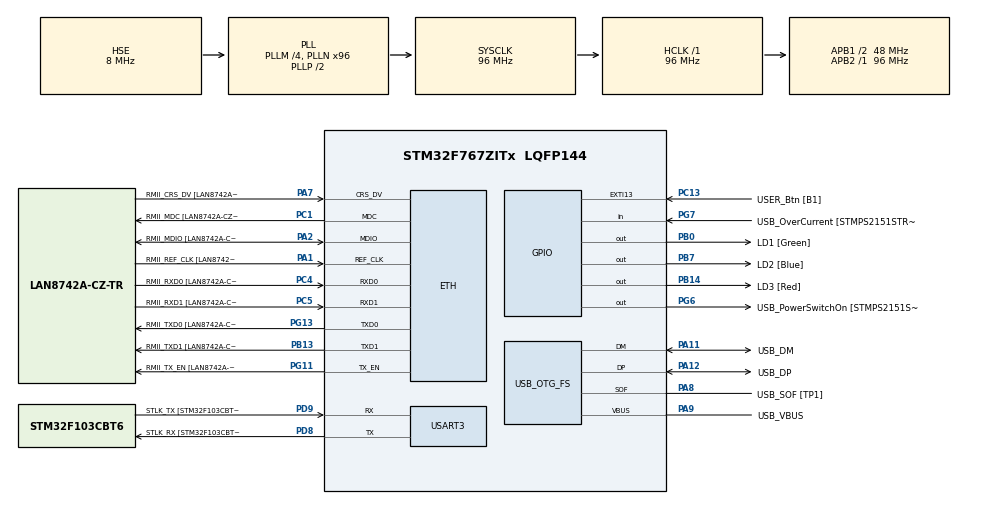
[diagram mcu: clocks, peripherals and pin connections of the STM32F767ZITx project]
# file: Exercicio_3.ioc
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ETH.MediaInterface=HAL_ETH_RMII_MODE
ETH.PHY_Name=LAN8742A_PHY_ADDRESS
ETH.PHY_Value=0
ETH.PhyAddress=0
FREERTOS.CountingSemaphores01=Sem01,2,Dynamic,NULL,0
FREERTOS.Mutexes01=Mutex01,Dynamic,NULL,Available
FREERTOS.Tasks01=Task01,24,128,Task_01,Default,NULL,Dynamic,NULL,NULL;Task02,24,128,Task_02,Default,NULL,Dynamic,NULL,NULL;Task03,24,128,Task_03,Default,NULL,Dynamic,NULL,NULL
Mcu.Family=STM32F7
Mcu.Name=STM32F767ZITx
Mcu.Package=LQFP144
NVIC.PriorityGroup=NVIC_PRIORITYGROUP_4
NVIC.TIM1_UP_TIM10_IRQn=true\:15\:0\:false\:false\:true\:false\:false\:true\:true
NVIC.TimeBase=TIM1_UP_TIM10_IRQn
NVIC.TimeBaseIP=TIM1
PA1.GPIO_Label=RMII_REF_CLK [LAN8742A-CZ-TR_REFCLK0]
PA1.Mode=RMII
PA1.Signal=ETH_REF_CLK
PA10.GPIO_Label=USB_ID
PA10.Signal=USB_OTG_FS_ID
PA11.GPIO_Label=USB_DM
PA11.Mode=Device_Only
PA11.Signal=USB_OTG_FS_DM
PA12.GPIO_Label=USB_DP
PA12.Mode=Device_Only
PA12.Signal=USB_OTG_FS_DP
PA13.GPIO_Label=TMS
PA13.Mode=Serial_Wire
PA13.Signal=SYS_JTMS-SWDIO
PA14.GPIO_Label=TCK
PA14.Mode=Serial_Wire
PA14.Signal=SYS_JTCK-SWCLK
PA2.GPIO_Label=RMII_MDIO [LAN8742A-CZ-TR_MDIO]
PA2.Mode=RMII
PA2.Signal=ETH_MDIO
PA7.GPIO_Label=RMII_CRS_DV [LAN8742A-CZ-TR_CRS_DV]
PA7.Mode=RMII
PA7.Signal=ETH_CRS_DV
PA8.GPIO_Label=USB_SOF [TP1]
PA8.Mode=Activate_SOF_FS
PA8.Signal=USB_OTG_FS_SOF
PA9.GPIO_Label=USB_VBUS
PA9.Mode=Activate_VBUS
PA9.Signal=USB_OTG_FS_VBUS
PB0.GPIO_Label=LD1 [Green]
PB0.Signal=GPIO_Output
PB13.GPIO_Label=RMII_TXD1 [LAN8742A-CZ-TR_TXD1]
PB13.Mode=RMII
PB13.Signal=ETH_TXD1
PB14.GPIO_Label=LD3 [Red]
PB14.Signal=GPIO_Output
PB3.GPIO_Label=SWO
PB3.Signal=SYS_JTDO-SWO
PB7.GPIO_Label=LD2 [Blue]
PB7.Signal=GPIO_Output
PC1.GPIO_Label=RMII_MDC [LAN8742A-CZ-TR_MDC]
PC1.Mode=RMII
PC1.Signal=ETH_MDC
PC13.GPIO_Label=USER_Btn [B1]
PC13.Signal=GPXTI13
PC14/OSC32_IN.Mode=LSE-External-Oscillator
PC14/OSC32_IN.Signal=RCC_OSC32_IN
PC15/OSC32_OUT.Mode=LSE-External-Oscillator
PC15/OSC32_OUT.Signal=RCC_OSC32_OUT
PC4.GPIO_Label=RMII_RXD0 [LAN8742A-CZ-TR_RXD0]
PC4.Mode=RMII
PC4.Signal=ETH_RXD0
PC5.GPIO_Label=RMII_RXD1 [LAN8742A-CZ-TR_RXD1]
PC5.Mode=RMII
PC5.Signal=ETH_RXD1
PD8.GPIO_Label=STLK_RX [STM32F103CBT6_PA3]
PD8.Mode=Asynchronous
PD8.Signal=USART3_TX
PD9.GPIO_Label=STLK_TX [STM32F103CBT6_PA2]
PD9.Mode=Asynchronous
PD9.Signal=USART3_RX
PG11.GPIO_Label=RMII_TX_EN [LAN8742A-CZ-TR_TXEN]
PG11.Mode=RMII
PG11.Signal=ETH_TX_EN
PG13.GPIO_Label=RMII_TXD0 [LAN8742A-CZ-TR_TXD0]
PG13.Mode=RMII
PG13.Signal=ETH_TXD0
PG6.GPIO_Label=USB_PowerSwitchOn [STMPS2151STR_EN]
PG6.Signal=GPIO_Output
PG7.GPIO_Label=USB_OverCurrent [STMPS2151STR_FAULT]
PG7.Signal=GPIO_Input
PH0/OSC_IN.GPIO_Label=MCO [STM32F103CBT6_PA8]
PH0/OSC_IN.Mode=HSE-External-Clock-Source
PH0/OSC_IN.Signal=RCC_OSC_IN
PH1/OSC_OUT.Mode=HSE-External-Clock-Source
PH1/OSC_OUT.Signal=RCC_OSC_OUT
ProjectManager.HeapSize=0x200
ProjectManager.StackSize=0x400
ProjectManager.TargetToolchain=STM32CubeIDE
RCC.48MHZClocksFreq_Value=24000000
RCC.AHBFreq_Value=96000000
RCC.APB1CLKDivider=RCC_HCLK_DIV2
RCC.APB1Freq_Value=48000000
RCC.APB1TimFreq_Value=96000000
RCC.APB2Freq_Value=96000000
RCC.APB2TimFreq_Value=96000000
RCC.CortexFreq_Value=96000000
RCC.HCLKFreq_Value=96000000
RCC.HSE_VALUE=8000000
RCC.HSI_VALUE=16000000
RCC.PLLM=4
RCC.PLLMUL=RCC_PLL_MUL9
RCC.PLLN=96
RCC.PLLQ=4
RCC.PRESCALERUSB=RCC_USBCLKSOURCE_PLL_DIV1_5
RCC.SYSCLKFreq_VALUE=96000000
RCC.SYSCLKSource=RCC_SYSCLKSOURCE_PLLCLK
RCC.SYSCLKSourceVirtual=RCC_SYSCLKSOURCE_PLLCLK
RCC.USBFreq_Value=48000000
RCC.VCOOutputFreq_Value=192000000
USART3.VirtualMode-Asynchronous=VM_ASYNC
USB_OTG_FS.VirtualMode=Device_Only
VP_FREERTOS_VS_CMSIS_V2.Mode=CMSIS_V2
VP_SYS_VS_tim1.Mode=TIM1
board=NUCLEO-F767ZI

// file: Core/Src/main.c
/* USER CODE BEGIN Header */
/**
  ******************************************************************************
  * @file           : main.c
  * @brief          : Main program body
  ******************************************************************************
  * @attention
  *
  * Copyright (c) 2025 STMicroelectronics.
  * All rights reserved.
  *
  * This software is licensed under terms that can be found in the LICENSE file
  * in the root directory of this software component.
  * If no LICENSE file comes with this software, it is provided AS-IS.
  *
  ******************************************************************************
  */
/* USER CODE END Header */
#include "main.h"
#include "string.h"
#include "cmsis_os.h"

#if defined ( __ICCARM__ ) /*!< IAR Compiler */
#pragma location=0x2007c000
ETH_DMADescTypeDef  DMARxDscrTab[ETH_RX_DESC_CNT]; /* Ethernet Rx DMA Descriptors */
#pragma location=0x2007c0a0
ETH_DMADescTypeDef  DMATxDscrTab[ETH_TX_DESC_CNT]; /* Ethernet Tx DMA Descriptors */

#elif defined ( __CC_ARM )  /* MDK ARM Compiler */

__attribute__((at(0x2007c000))) ETH_DMADescTypeDef  DMARxDscrTab[ETH_RX_DESC_CNT]; /* Ethernet Rx DMA Descriptors */
__attribute__((at(0x2007c0a0))) ETH_DMADescTypeDef  DMATxDscrTab[ETH_TX_DESC_CNT]; /* Ethernet Tx DMA Descriptors */

#elif defined ( __GNUC__ ) /* GNU Compiler */

ETH_DMADescTypeDef DMARxDscrTab[ETH_RX_DESC_CNT] __attribute__((section(".RxDecripSection"))); /* Ethernet Rx DMA Descriptors */
ETH_DMADescTypeDef DMATxDscrTab[ETH_TX_DESC_CNT] __attribute__((section(".TxDecripSection")));   /* Ethernet Tx DMA Descriptors */
#endif

ETH_TxPacketConfig TxConfig;

ETH_HandleTypeDef heth;

UART_HandleTypeDef huart3;

PCD_HandleTypeDef hpcd_USB_OTG_FS;

/* Definitions for Task01 */
osThreadId_t Task01Handle;
const osThreadAttr_t Task01_attributes = {
  .name = "Task01",
  .stack_size = 128 * 4,
  .priority = (osPriority_t) osPriorityNormal,
};
/* Definitions for Task02 */
osThreadId_t Task02Handle;
const osThreadAttr_t Task02_attributes = {
  .name = "Task02",
  .stack_size = 128 * 4,
  .priority = (osPriority_t) osPriorityNormal,
};
/* Definitions for Task03 */
osThreadId_t Task03Handle;
const osThreadAttr_t Task03_attributes = {
  .name = "Task03",
  .stack_size = 128 * 4,
  .priority = (osPriority_t) osPriorityNormal,
};
/* Definitions for Mutex01 */
osMutexId_t Mutex01Handle;
const osMutexAttr_t Mutex01_attributes = {
  .name = "Mutex01"
};
/* Definitions for Sem01 */
osSemaphoreId_t Sem01Handle;
const osSemaphoreAttr_t Sem01_attributes = {
  .name = "Sem01"
};

void SystemClock_Config(void);
static void MX_GPIO_Init(void);
static void MX_ETH_Init(void);
static void MX_USART3_UART_Init(void);
static void MX_USB_OTG_FS_PCD_Init(void);
void Task_01(void *argument);
void Task_02(void *argument);
void Task_03(void *argument);

int main(void)
{

  /* MCU Configuration--------------------------------------------------------*/

  /* Reset of all peripherals, Initializes the Flash interface and the Systick. */
  HAL_Init();

  /* Configure the system clock */
  SystemClock_Config();

  /* Initialize all configured peripherals */
  MX_GPIO_Init();
  MX_ETH_Init();
  MX_USART3_UART_Init();
  MX_USB_OTG_FS_PCD_Init();

  /* Init scheduler */
  osKernelInitialize();
  /* Create the mutex(es) */
  /* creation of Mutex01 */
  Mutex01Handle = osMutexNew(&Mutex01_attributes);

  /* Create the semaphores(s) */
  /* creation of Sem01 */
  Sem01Handle = osSemaphoreNew(2, 0, &Sem01_attributes);

  /* Create the thread(s) */
  /* creation of Task01 */
  Task01Handle = osThreadNew(Task_01, NULL, &Task01_attributes);

  /* creation of Task02 */
  Task02Handle = osThreadNew(Task_02, NULL, &Task02_attributes);

  /* creation of Task03 */
  Task03Handle = osThreadNew(Task_03, NULL, &Task03_attributes);

  /* Start scheduler */
  osKernelStart();

  /* We should never get here as control is now taken by the scheduler */

  /* Infinite loop */
  while (1)
  {

  }
}

void SystemClock_Config(void)
{
  RCC_OscInitTypeDef RCC_OscInitStruct = {0};
  RCC_ClkInitTypeDef RCC_ClkInitStruct = {0};

  /** Configure LSE Drive Capability
  */
  HAL_PWR_EnableBkUpAccess();

  /** Configure the main internal regulator output voltage
  */
  __HAL_RCC_PWR_CLK_ENABLE();
  __HAL_PWR_VOLTAGESCALING_CONFIG(PWR_REGULATOR_VOLTAGE_SCALE3);

  /** Initializes the RCC Oscillators according to the specified parameters
  * in the RCC_OscInitTypeDef structure.
  */
  RCC_OscInitStruct.OscillatorType = RCC_OSCILLATORTYPE_HSE;
  RCC_OscInitStruct.HSEState = RCC_HSE_BYPASS;
  RCC_OscInitStruct.PLL.PLLState = RCC_PLL_ON;
  RCC_OscInitStruct.PLL.PLLSource = RCC_PLLSOURCE_HSE;
  RCC_OscInitStruct.PLL.PLLM = 4;
  RCC_OscInitStruct.PLL.PLLN = 96;
  RCC_OscInitStruct.PLL.PLLP = RCC_PLLP_DIV2;
  RCC_OscInitStruct.PLL.PLLQ = 4;
  RCC_OscInitStruct.PLL.PLLR = 2;
  if (HAL_RCC_OscConfig(&RCC_OscInitStruct) != HAL_OK)
  {
    Error_Handler();
  }

  /** Activate the Over-Drive mode
  */
  if (HAL_PWREx_EnableOverDrive() != HAL_OK)
  {
    Error_Handler();
  }

  /** Initializes the CPU, AHB and APB buses clocks
  */
  RCC_ClkInitStruct.ClockType = RCC_CLOCKTYPE_HCLK|RCC_CLOCKTYPE_SYSCLK
                              |RCC_CLOCKTYPE_PCLK1|RCC_CLOCKTYPE_PCLK2;
  RCC_ClkInitStruct.SYSCLKSource = RCC_SYSCLKSOURCE_PLLCLK;
  RCC_ClkInitStruct.AHBCLKDivider = RCC_SYSCLK_DIV1;
  RCC_ClkInitStruct.APB1CLKDivider = RCC_HCLK_DIV2;
  RCC_ClkInitStruct.APB2CLKDivider = RCC_HCLK_DIV1;

  if (HAL_RCC_ClockConfig(&RCC_ClkInitStruct, FLASH_LATENCY_3) != HAL_OK)
  {
    Error_Handler();
  }
}

static void MX_ETH_Init(void)
{

   static uint8_t MACAddr[6];

  heth.Instance = ETH;
  MACAddr[0] = 0x00;
  MACAddr[1] = 0x80;
  MACAddr[2] = 0xE1;
  MACAddr[3] = 0x00;
  MACAddr[4] = 0x00;
  MACAddr[5] = 0x00;
  heth.Init.MACAddr = &MACAddr[0];
  heth.Init.MediaInterface = HAL_ETH_RMII_MODE;
  heth.Init.TxDesc = DMATxDscrTab;
  heth.Init.RxDesc = DMARxDscrTab;
  heth.Init.RxBuffLen = 1524;

  if (HAL_ETH_Init(&heth) != HAL_OK)
  {
    Error_Handler();
  }

  memset(&TxConfig, 0 , sizeof(ETH_TxPacketConfig));
  TxConfig.Attributes = ETH_TX_PACKETS_FEATURES_CSUM | ETH_TX_PACKETS_FEATURES_CRCPAD;
  TxConfig.ChecksumCtrl = ETH_CHECKSUM_IPHDR_PAYLOAD_INSERT_PHDR_CALC;
  TxConfig.CRCPadCtrl = ETH_CRC_PAD_INSERT;

}

static void MX_USART3_UART_Init(void)
{

  huart3.Instance = USART3;
  huart3.Init.BaudRate = 115200;
  huart3.Init.WordLength = UART_WORDLENGTH_8B;
  huart3.Init.StopBits = UART_STOPBITS_1;
  huart3.Init.Parity = UART_PARITY_NONE;
  huart3.Init.Mode = UART_MODE_TX_RX;
  huart3.Init.HwFlowCtl = UART_HWCONTROL_NONE;
  huart3.Init.OverSampling = UART_OVERSAMPLING_16;
  huart3.Init.OneBitSampling = UART_ONE_BIT_SAMPLE_DISABLE;
  huart3.AdvancedInit.AdvFeatureInit = UART_ADVFEATURE_NO_INIT;
  if (HAL_UART_Init(&huart3) != HAL_OK)
  {
    Error_Handler();
  }

}

static void MX_USB_OTG_FS_PCD_Init(void)
{

  hpcd_USB_OTG_FS.Instance = USB_OTG_FS;
  hpcd_USB_OTG_FS.Init.dev_endpoints = 6;
  hpcd_USB_OTG_FS.Init.speed = PCD_SPEED_FULL;
  hpcd_USB_OTG_FS.Init.dma_enable = DISABLE;
  hpcd_USB_OTG_FS.Init.phy_itface = PCD_PHY_EMBEDDED;
  hpcd_USB_OTG_FS.Init.Sof_enable = ENABLE;
  hpcd_USB_OTG_FS.Init.low_power_enable = DISABLE;
  hpcd_USB_OTG_FS.Init.lpm_enable = DISABLE;
  hpcd_USB_OTG_FS.Init.vbus_sensing_enable = ENABLE;
  hpcd_USB_OTG_FS.Init.use_dedicated_ep1 = DISABLE;
  if (HAL_PCD_Init(&hpcd_USB_OTG_FS) != HAL_OK)
  {
    Error_Handler();
  }

}

static void MX_GPIO_Init(void)
{
  GPIO_InitTypeDef GPIO_InitStruct = {0};

  /* GPIO Ports Clock Enable */
  __HAL_RCC_GPIOC_CLK_ENABLE();
  __HAL_RCC_GPIOH_CLK_ENABLE();
  __HAL_RCC_GPIOA_CLK_ENABLE();
  __HAL_RCC_GPIOB_CLK_ENABLE();
  __HAL_RCC_GPIOD_CLK_ENABLE();
  __HAL_RCC_GPIOG_CLK_ENABLE();

  /*Configure GPIO pin Output Level */
  HAL_GPIO_WritePin(GPIOB, LD1_Pin|LD3_Pin|LD2_Pin, GPIO_PIN_RESET);

  /*Configure GPIO pin Output Level */
  HAL_GPIO_WritePin(USB_PowerSwitchOn_GPIO_Port, USB_PowerSwitchOn_Pin, GPIO_PIN_RESET);

  /*Configure GPIO pin : USER_Btn_Pin */
  GPIO_InitStruct.Pin = USER_Btn_Pin;
  GPIO_InitStruct.Mode = GPIO_MODE_IT_RISING;
  GPIO_InitStruct.Pull = GPIO_NOPULL;
  HAL_GPIO_Init(USER_Btn_GPIO_Port, &GPIO_InitStruct);

  /*Configure GPIO pins : LD1_Pin LD3_Pin LD2_Pin */
  GPIO_InitStruct.Pin = LD1_Pin|LD3_Pin|LD2_Pin;
  GPIO_InitStruct.Mode = GPIO_MODE_OUTPUT_PP;
  GPIO_InitStruct.Pull = GPIO_NOPULL;
  GPIO_InitStruct.Speed = GPIO_SPEED_FREQ_LOW;
  HAL_GPIO_Init(GPIOB, &GPIO_InitStruct);

  /*Configure GPIO pin : USB_PowerSwitchOn_Pin */
  GPIO_InitStruct.Pin = USB_PowerSwitchOn_Pin;
  GPIO_InitStruct.Mode = GPIO_MODE_OUTPUT_PP;
  GPIO_InitStruct.Pull = GPIO_NOPULL;
  GPIO_InitStruct.Speed = GPIO_SPEED_FREQ_LOW;
  HAL_GPIO_Init(USB_PowerSwitchOn_GPIO_Port, &GPIO_InitStruct);

  /*Configure GPIO pin : USB_OverCurrent_Pin */
  GPIO_InitStruct.Pin = USB_OverCurrent_Pin;
  GPIO_InitStruct.Mode = GPIO_MODE_INPUT;
  GPIO_InitStruct.Pull = GPIO_NOPULL;
  HAL_GPIO_Init(USB_OverCurrent_GPIO_Port, &GPIO_InitStruct);

}

void Task_01(void *argument)
{
  /* USER CODE BEGIN 5 */
  /* Infinite loop */
  for(;;)
  {
	  char *str1 = "Task 01 -> Entrando \n";
	  HAL_UART_Transmit(&huart3, (uint8_t *)str1, strlen(str1),100);
	  osDelay(1000);

	  uint8_t cont = osSemaphoreGetCount(Sem01Handle);

	  if (cont = 0){
		 osSemaphoreRelease(Sem01Handle);
		 osSemaphoreAcquire(Sem01Handle, osWaitForever);
	  }

  }
  /* USER CODE END 5 */
}

void Task_02(void *argument)
{
  /* USER CODE BEGIN Task_02 */
  /* Infinite loop */
  for(;;)
  {
	  char *str2 = "Task 02 -> Entrando \n";
	  HAL_UART_Transmit(&huart3, (uint8_t *)str2, strlen(str2),100);
	  osDelay(1000);
	  osSemaphoreAcquire(Sem01Handle, osWaitForever);
  }
  /* USER CODE END Task_02 */
}

void Task_03(void *argument)
{
  /* USER CODE BEGIN Task_03 */
  /* Infinite loop */
  for(;;)
  {
	  char *str3 = "Task 03 -> Entrando \n";
	  HAL_UART_Transmit(&huart3, (uint8_t *)str3, strlen(str3),100);
	  osDelay(1000);
	  osSemaphoreAcquire(Sem01Handle, osWaitForever);
  }
  /* USER CODE END Task_03 */
}

void HAL_TIM_PeriodElapsedCallback(TIM_HandleTypeDef *htim)
{
  if (htim->Instance == TIM1) {
    HAL_IncTick();
  }
}

void Error_Handler(void)
{
  __disable_irq();
  while (1)
  {
  }
}
